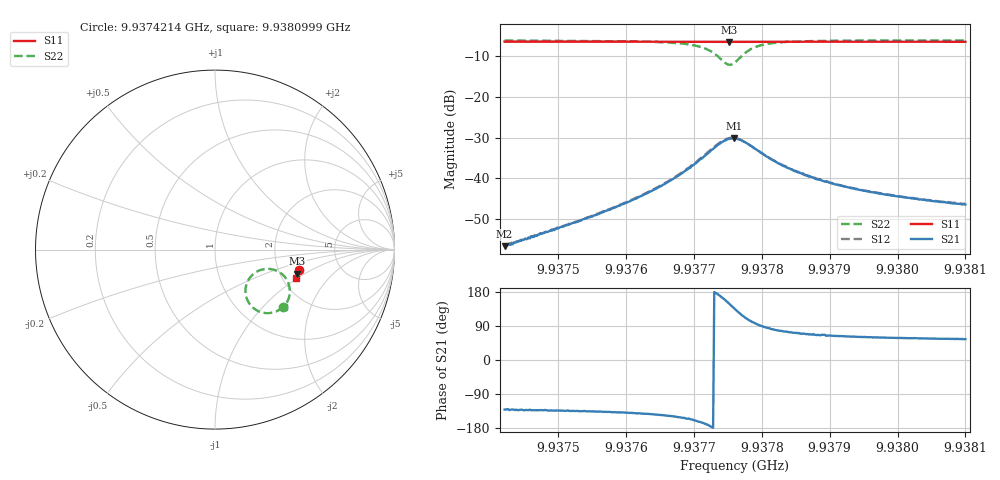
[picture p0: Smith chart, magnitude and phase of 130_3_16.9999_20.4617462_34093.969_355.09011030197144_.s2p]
#  HZ  S  RI  R  50.00
! Rohde & Schwarz Vector Network Analyzer
! Rohde-Schwarz,ZNB20-2Port,1311601062101988,3.16
! Created: UTC 3/20/2024, 10:57:55 PM
! freq[Hz]  re:S11  im:S11  re:S21  im:S21  re:S12  im:S12  re:S22  im:S22
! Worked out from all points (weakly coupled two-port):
!   401 points, 9.9374214 GHz to 9.9380999 GHz, reference 50 ohm
!   highest |S21| = -30.18 dB at 9.937759 GHz (marker M1); lowest = -56.8 dB at 9.9374214 GHz (marker M2)
!   lowest |S11| = -6.4 dB at 9.9377522 GHz (marker M3), VSWR 2.83, Z = 124 - j43.2 ohm
!   |S11| at or under -10 dB: nowhere
!   |S22| runs from -12.0 to -6.0 dB; largest |S21 - S12| = 0.0016
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9.93742145e9  0.4693 -0.1144  -0.000944 -0.00109  -0.00101 -0.00107  0.3801 -0.3195
9.93753509e9  0.4667 -0.122  -0.00216 -0.00215  -0.00221 -0.00218  0.364 -0.3322
9.93759955e9  0.465 -0.1264  -0.0037 -0.00321  -0.00382 -0.00322  0.3471 -0.342
9.93764874e9  0.4638 -0.1298  -0.0063 -0.0045  -0.00649 -0.00447  0.322 -0.3508
9.93768436e9  0.4625 -0.1324  -0.0104 -0.00537  -0.0108 -0.00527  0.2858 -0.3538
9.93771149e9  0.461 -0.1341  -0.0168 -0.00446  -0.0175 -0.00422  0.2336 -0.3386
9.93772506e9  0.4601 -0.1347  -0.0217 -0.00168  -0.0223 -0.00109  0.1979 -0.309
9.93773694e9  0.4594 -0.135  -0.0258 0.00403  -0.0264 0.00484  0.1725 -0.257
9.93774711e9  0.4587 -0.1348  -0.0269 0.0115  -0.0272 0.013  0.1756 -0.1926
9.9377522e9  0.4586 -0.1346  -0.026 0.016  -0.0259 0.0174  0.1917 -0.1602
9.93775899e9  0.4587 -0.1343  -0.0226 0.0212  -0.0221 0.0223  0.2273 -0.1259
9.93776068e9  0.4588 -0.1344  -0.0214 0.0222  -0.0208 0.0233  0.2383 -0.12
9.93776916e9  0.4591 -0.1343  -0.0152 0.0253  -0.0142 0.026  0.2934 -0.107
9.93777934e9  0.4599 -0.1349  -0.00793 0.0253  -0.00706 0.0254  0.3483 -0.1202
9.937798e9  0.4604 -0.1365  -0.000282 0.0207  0.00032 0.0209  0.3997 -0.1675
9.93781326e9  0.4605 -0.1379  0.00243 0.0171  0.00279 0.0171  0.4132 -0.2004
9.93783362e9  0.4602 -0.1395  0.00364 0.0136  0.00386 0.0136  0.4171 -0.2315
9.93785058e9  0.4599 -0.1409  0.00391 0.0115  0.00427 0.0115  0.4159 -0.2489
9.93787433e9  0.4594 -0.1426  0.00406 0.00943  0.00417 0.00934  0.4119 -0.266
9.9379303e9  0.4582 -0.1464  0.00354 0.00666  0.00371 0.00667  0.4028 -0.2892
9.93798797e9  0.4565 -0.1505  0.00322 0.00529  0.00331 0.00525  0.3952 -0.3028
9.93809992e9  0.4537 -0.1578  0.0027 0.00386  0.0028 0.00385  0.3838 -0.3182
